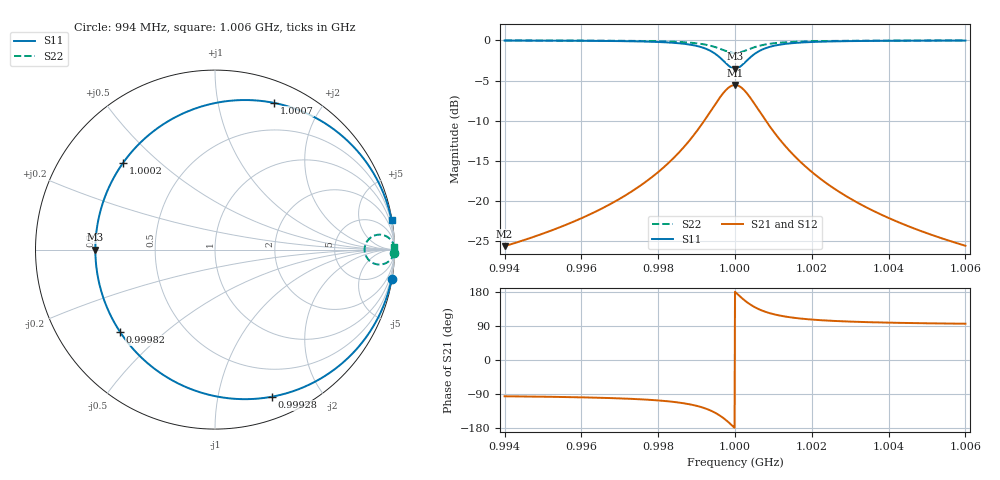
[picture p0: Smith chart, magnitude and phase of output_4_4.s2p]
! File generated for n1 = 4, n2 = 4
! b1 = 10.000000
! b2 = 1.000000
! Q0 = 10000.000000
! f0 = 1000000000.000000
! n = 1001
! rel_span = 10.000000
# Hz S RI R 50
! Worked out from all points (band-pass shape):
!   1001 points, 994 MHz to 1.006 GHz, reference 50 ohm
!   highest |S21| = -5.56 dB at 1 GHz (marker M1); lowest = -25.6 dB at 994 MHz (marker M2)
!   |S21| within 3 dB of the highest: 999.4016 MHz to 1.000599 GHz (1.197 MHz wide, 0.12 % of centre)
!   lowest |S11| = -3.5 dB at 1 GHz (marker M3), VSWR 5.00, Z = 10 + j0 ohm
!   |S11| at or under -10 dB: nowhere
!   |S22| runs from -1.6 to 0.0 dB; largest |S21 - S12| = 0
!   S11 on the Smith chart (normalised r, x): 994 MHz: 0, -12; 999.28 MHz: 0.20, -1.44; 999.82 MHz: 0.20, -0.36; 1.0002 GHz: 0.20, +0.38; 1.0007 GHz: 0.20, +1.46; 1.006 GHz: 0, +12
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9.94e8  0.9836 -0.1645  -0.00519 -0.052  -0.00519 -0.052  0.9984 -0.0165
9.96004e8  0.9634 -0.2443  -0.0116 -0.0772  -0.0116 -0.0772  0.9963 -0.0244
9.97144e8  0.9297 -0.3349  -0.0222 -0.1059  -0.0222 -0.1059  0.993 -0.0335
9.98008e8  0.8616 -0.4599  -0.0438 -0.1454  -0.0438 -0.1454  0.9862 -0.046
9.98776e8  0.6774 -0.6585  -0.102 -0.2082  -0.102 -0.2082  0.9677 -0.0658
9.99052e8  0.5236 -0.753  -0.1506 -0.2381  -0.1506 -0.2381  0.9524 -0.0753
9.9928e8  0.3172 -0.8196  -0.2159 -0.2592  -0.2159 -0.2592  0.9317 -0.082
9.9958e8  -0.1184 -0.7831  -0.3537 -0.2476  -0.3537 -0.2476  0.8882 -0.0783
9.997e8  -0.3333 -0.6667  -0.4216 -0.2108  -0.4216 -0.2108  0.8667 -0.0667
9.9982e8  -0.529 -0.4588  -0.4835 -0.1451  -0.4835 -0.1451  0.8471 -0.0459
1e9  -0.6667 0  -0.527 0  -0.527 0  0.8333 0
1.000096e9  -0.6251 0.26  -0.5139 0.0822  -0.5139 0.0822  0.8375 0.026
1.000192e9  -0.5119 0.4838  -0.4781 0.153  -0.4781 0.153  0.8488 0.0484
1.0003e9  -0.3334 0.6666  -0.4217 0.2108  -0.4217 0.2108  0.8667 0.0667
1.00042e9  -0.1187 0.7829  -0.3538 0.2476  -0.3538 0.2476  0.8881 0.0783
1.000552e9  0.0971 0.8304  -0.2855 0.2626  -0.2855 0.2626  0.9097 0.083
1.000732e9  0.3299 0.8172  -0.2119 0.2584  -0.2119 0.2584  0.933 0.0817
1.00096e9  0.5315 0.7492  -0.1481 0.2369  -0.1481 0.2369  0.9532 0.0749
1.001236e9  0.6818 0.655  -0.1006 0.2071  -0.1006 0.2071  0.9682 0.0655
1.002004e9  0.8626 0.4583  -0.0434 0.1449  -0.0434 0.1449  0.9863 0.0458
1.004008e9  0.9633 0.2445  -0.0116 0.0773  -0.0116 0.0773  0.9963 0.0244
1.006e9  0.9834 0.1655  -0.00525 0.0523  -0.00525 0.0523  0.9983 0.0166
